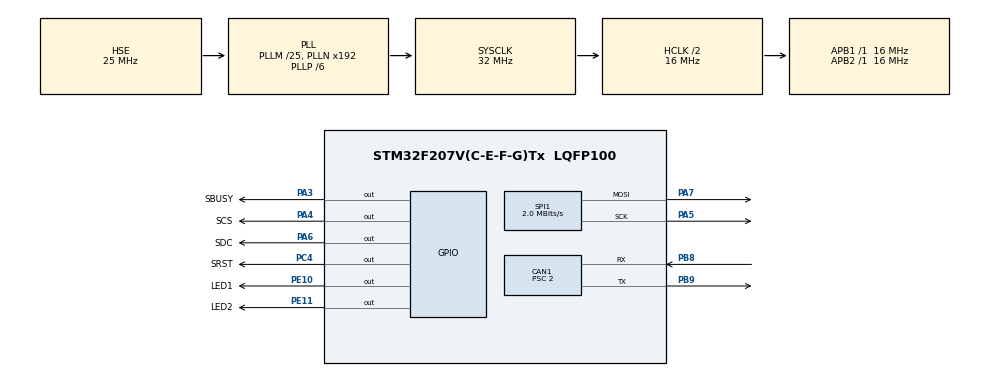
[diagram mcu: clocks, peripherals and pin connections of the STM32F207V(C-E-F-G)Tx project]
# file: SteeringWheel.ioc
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CAN1.BS1=CAN_BS1_13TQ
CAN1.BS2=CAN_BS2_2TQ
CAN1.CalculateBaudRate=500000
CAN1.CalculateTimeBit=2000
CAN1.CalculateTimeQuantum=125.0
CAN1.Prescaler=2
Mcu.Family=STM32F2
Mcu.Name=STM32F207V(C-E-F-G)Tx
Mcu.Package=LQFP100
NVIC.PriorityGroup=NVIC_PRIORITYGROUP_4
PA13.Mode=JTAG_5_pins
PA13.Signal=SYS_JTMS-SWDIO
PA14.Mode=JTAG_5_pins
PA14.Signal=SYS_JTCK-SWCLK
PA15.Mode=JTAG_5_pins
PA15.Signal=SYS_JTDI
PA3.GPIO_Label=SBUSY
PA3.Signal=GPIO_Output
PA4.GPIO_Label=SCS
PA4.Signal=GPIO_Output
PA5.Mode=TX_Only_Simplex_Unidirect_Master
PA5.Signal=SPI1_SCK
PA6.GPIO_Label=SDC
PA6.Signal=GPIO_Output
PA7.Mode=TX_Only_Simplex_Unidirect_Master
PA7.Signal=SPI1_MOSI
PB3.Mode=JTAG_5_pins
PB3.Signal=SYS_JTDO-SWO
PB4.Mode=JTAG_5_pins
PB4.Signal=SYS_JTRST
PB8.Mode=CAN_Activate
PB8.Signal=CAN1_RX
PB9.Mode=CAN_Activate
PB9.Signal=CAN1_TX
PC4.GPIO_Label=SRST
PC4.Signal=GPIO_Output
PE10.GPIO_Label=LED1
PE10.Signal=GPIO_Output
PE11.GPIO_Label=LED2
PE11.Signal=GPIO_Output
PH0-OSC_IN.Mode=HSE-External-Oscillator
PH0-OSC_IN.Signal=RCC_OSC_IN
PH1-OSC_OUT.Mode=HSE-External-Oscillator
PH1-OSC_OUT.Signal=RCC_OSC_OUT
ProjectManager.HeapSize=0x200
ProjectManager.StackSize=0x400
ProjectManager.TargetToolchain=STM32CubeIDE
RCC.48MHZClocksFreq_Value=48000000
RCC.AHBCLKDivider=RCC_SYSCLK_DIV2
RCC.AHBFreq_Value=16000000
RCC.APB1Freq_Value=16000000
RCC.APB1TimFreq_Value=16000000
RCC.APB2Freq_Value=16000000
RCC.APB2TimFreq_Value=16000000
RCC.CortexFreq_Value=16000000
RCC.HCLKFreq_Value=16000000
RCC.HSE_VALUE=25000000
RCC.HSI_VALUE=16000000
RCC.LSE_VALUE=32768
RCC.PLLM=25
RCC.PLLP=RCC_PLLP_DIV6
RCC.PLLSourceVirtual=RCC_PLLSOURCE_HSE
RCC.SYSCLKFreq_VALUE=32000000
RCC.SYSCLKSource=RCC_SYSCLKSOURCE_PLLCLK
RCC.VCOOutputFreq_Value=192000000
SPI1.BaudRatePrescaler=SPI_BAUDRATEPRESCALER_8
SPI1.CLKPhase=SPI_PHASE_2EDGE
SPI1.CLKPolarity=SPI_POLARITY_HIGH
SPI1.CalculateBaudRate=2.0 MBits/s
SPI1.Direction=SPI_DIRECTION_2LINES
SPI1.Mode=SPI_MODE_MASTER
SPI1.VirtualType=VM_MASTER
board=custom

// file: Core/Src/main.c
/* USER CODE BEGIN Header */
/**
 ******************************************************************************
 * @file           : main.c
 * @brief          : Main program body
 ******************************************************************************
 * @attention
 *
 * Copyright (c) 2022 STMicroelectronics.
 * All rights reserved.
 *
 * This software is licensed under terms that can be found in the LICENSE file
 * in the root directory of this software component.
 * If no LICENSE file comes with this software, it is provided AS-IS.
 *
 ******************************************************************************
 */
/* USER CODE END Header */
#include "main.h"

/* USER CODE BEGIN Includes */
#include "MS_Screen.h"

/* USER CODE END Includes */

/* USER CODE BEGIN PTD */
//extern UBYTE *Canvas;
/* USER CODE END PTD */

CAN_HandleTypeDef hcan1;

SPI_HandleTypeDef hspi1;

void SystemClock_Config(void);
static void MX_GPIO_Init(void);
static void MX_SPI1_Init(void);
static void MX_CAN1_Init(void);

int main(void)
{

  /* MCU Configuration--------------------------------------------------------*/

  /* Reset of all peripherals, Initializes the Flash interface and the Systick. */
  HAL_Init();

  /* Configure the system clock */
  SystemClock_Config();

  /* Initialize all configured peripherals */
  MX_GPIO_Init();
  MX_SPI1_Init();
  MX_CAN1_Init();
  /* USER CODE BEGIN 2 */
	// Initialise the screen
	if (Screen_Init() != 0) {
		HAL_GPIO_TogglePin(LED2_GPIO_Port, LED2_Pin);
	}
	/* you have to edit the startup_stm32fxxx.s file and set a big enough heap size */
	UBYTE *Canvas = Canvas_Init();
	UBYTE *CountScreen = Canvas_Init();

	Screen_Static_Init(Canvas);

	Screen_Startup(Canvas);
	free(Canvas);

	HAL_Delay(5000);
	Screen_Dynamic_Init(CountScreen);
	int8_t VCU_STATES[5] = { 0, 2, 3, 4, 5 };

  /* USER CODE END 2 */

  /* Infinite loop */
	while (1) {

    /* USER CODE BEGIN 3 */
		/* Screen_1Gray_Clear();
		 HAL_GPIO_TogglePin(LED2_GPIO_Port, LED2_Pin);
		 HAL_Delay(1000);
		 Screen_1Gray_Clear();
		 HAL_GPIO_TogglePin(LED2_GPIO_Port, LED2_Pin);
		 */
		HAL_GPIO_TogglePin(LED2_GPIO_Port, LED2_Pin);
		Dynamic_Counter(CountScreen, VCU_STATES);
		if (VCU_STATES[0] < 15) {
			VCU_STATES[0]++;
		} else {
			VCU_STATES[0] = 0;
		}
//	  HAL_Delay(100);
	}
  /* USER CODE END 3 */
}

void SystemClock_Config(void)
{
  RCC_OscInitTypeDef RCC_OscInitStruct = {0};
  RCC_ClkInitTypeDef RCC_ClkInitStruct = {0};

  /** Initializes the RCC Oscillators according to the specified parameters
  * in the RCC_OscInitTypeDef structure.
  */
  RCC_OscInitStruct.OscillatorType = RCC_OSCILLATORTYPE_HSE;
  RCC_OscInitStruct.HSEState = RCC_HSE_ON;
  RCC_OscInitStruct.PLL.PLLState = RCC_PLL_ON;
  RCC_OscInitStruct.PLL.PLLSource = RCC_PLLSOURCE_HSE;
  RCC_OscInitStruct.PLL.PLLM = 25;
  RCC_OscInitStruct.PLL.PLLN = 192;
  RCC_OscInitStruct.PLL.PLLP = RCC_PLLP_DIV6;
  RCC_OscInitStruct.PLL.PLLQ = 4;
  if (HAL_RCC_OscConfig(&RCC_OscInitStruct) != HAL_OK)
  {
    Error_Handler();
  }

  /** Initializes the CPU, AHB and APB buses clocks
  */
  RCC_ClkInitStruct.ClockType = RCC_CLOCKTYPE_HCLK|RCC_CLOCKTYPE_SYSCLK
                              |RCC_CLOCKTYPE_PCLK1|RCC_CLOCKTYPE_PCLK2;
  RCC_ClkInitStruct.SYSCLKSource = RCC_SYSCLKSOURCE_PLLCLK;
  RCC_ClkInitStruct.AHBCLKDivider = RCC_SYSCLK_DIV2;
  RCC_ClkInitStruct.APB1CLKDivider = RCC_HCLK_DIV1;
  RCC_ClkInitStruct.APB2CLKDivider = RCC_HCLK_DIV1;

  if (HAL_RCC_ClockConfig(&RCC_ClkInitStruct, FLASH_LATENCY_0) != HAL_OK)
  {
    Error_Handler();
  }
}

static void MX_CAN1_Init(void)
{

  hcan1.Instance = CAN1;
  hcan1.Init.Prescaler = 2;
  hcan1.Init.Mode = CAN_MODE_NORMAL;
  hcan1.Init.SyncJumpWidth = CAN_SJW_1TQ;
  hcan1.Init.TimeSeg1 = CAN_BS1_13TQ;
  hcan1.Init.TimeSeg2 = CAN_BS2_2TQ;
  hcan1.Init.TimeTriggeredMode = DISABLE;
  hcan1.Init.AutoBusOff = DISABLE;
  hcan1.Init.AutoWakeUp = DISABLE;
  hcan1.Init.AutoRetransmission = DISABLE;
  hcan1.Init.ReceiveFifoLocked = DISABLE;
  hcan1.Init.TransmitFifoPriority = DISABLE;
  if (HAL_CAN_Init(&hcan1) != HAL_OK)
  {
    Error_Handler();
  }

}

static void MX_SPI1_Init(void)
{

  /* SPI1 parameter configuration*/
  hspi1.Instance = SPI1;
  hspi1.Init.Mode = SPI_MODE_MASTER;
  hspi1.Init.Direction = SPI_DIRECTION_2LINES;
  hspi1.Init.DataSize = SPI_DATASIZE_8BIT;
  hspi1.Init.CLKPolarity = SPI_POLARITY_HIGH;
  hspi1.Init.CLKPhase = SPI_PHASE_2EDGE;
  hspi1.Init.NSS = SPI_NSS_SOFT;
  hspi1.Init.BaudRatePrescaler = SPI_BAUDRATEPRESCALER_8;
  hspi1.Init.FirstBit = SPI_FIRSTBIT_MSB;
  hspi1.Init.TIMode = SPI_TIMODE_DISABLE;
  hspi1.Init.CRCCalculation = SPI_CRCCALCULATION_DISABLE;
  hspi1.Init.CRCPolynomial = 10;
  if (HAL_SPI_Init(&hspi1) != HAL_OK)
  {
    Error_Handler();
  }

}

static void MX_GPIO_Init(void)
{
  GPIO_InitTypeDef GPIO_InitStruct = {0};

  /* GPIO Ports Clock Enable */
  __HAL_RCC_GPIOH_CLK_ENABLE();
  __HAL_RCC_GPIOA_CLK_ENABLE();
  __HAL_RCC_GPIOC_CLK_ENABLE();
  __HAL_RCC_GPIOE_CLK_ENABLE();
  __HAL_RCC_GPIOB_CLK_ENABLE();

  /*Configure GPIO pin Output Level */
  HAL_GPIO_WritePin(GPIOA, SBUSY_Pin|SCS_Pin|SDC_Pin, GPIO_PIN_RESET);

  /*Configure GPIO pin Output Level */
  HAL_GPIO_WritePin(SRST_GPIO_Port, SRST_Pin, GPIO_PIN_RESET);

  /*Configure GPIO pin Output Level */
  HAL_GPIO_WritePin(GPIOE, LED1_Pin|LED2_Pin, GPIO_PIN_RESET);

  /*Configure GPIO pins : SBUSY_Pin SCS_Pin SDC_Pin */
  GPIO_InitStruct.Pin = SBUSY_Pin|SCS_Pin|SDC_Pin;
  GPIO_InitStruct.Mode = GPIO_MODE_OUTPUT_PP;
  GPIO_InitStruct.Pull = GPIO_NOPULL;
  GPIO_InitStruct.Speed = GPIO_SPEED_FREQ_LOW;
  HAL_GPIO_Init(GPIOA, &GPIO_InitStruct);

  /*Configure GPIO pin : SRST_Pin */
  GPIO_InitStruct.Pin = SRST_Pin;
  GPIO_InitStruct.Mode = GPIO_MODE_OUTPUT_PP;
  GPIO_InitStruct.Pull = GPIO_NOPULL;
  GPIO_InitStruct.Speed = GPIO_SPEED_FREQ_LOW;
  HAL_GPIO_Init(SRST_GPIO_Port, &GPIO_InitStruct);

  /*Configure GPIO pins : LED1_Pin LED2_Pin */
  GPIO_InitStruct.Pin = LED1_Pin|LED2_Pin;
  GPIO_InitStruct.Mode = GPIO_MODE_OUTPUT_PP;
  GPIO_InitStruct.Pull = GPIO_NOPULL;
  GPIO_InitStruct.Speed = GPIO_SPEED_FREQ_LOW;
  HAL_GPIO_Init(GPIOE, &GPIO_InitStruct);

}

void Error_Handler(void)
{
	__disable_irq();
	while (1) {
	}
}
